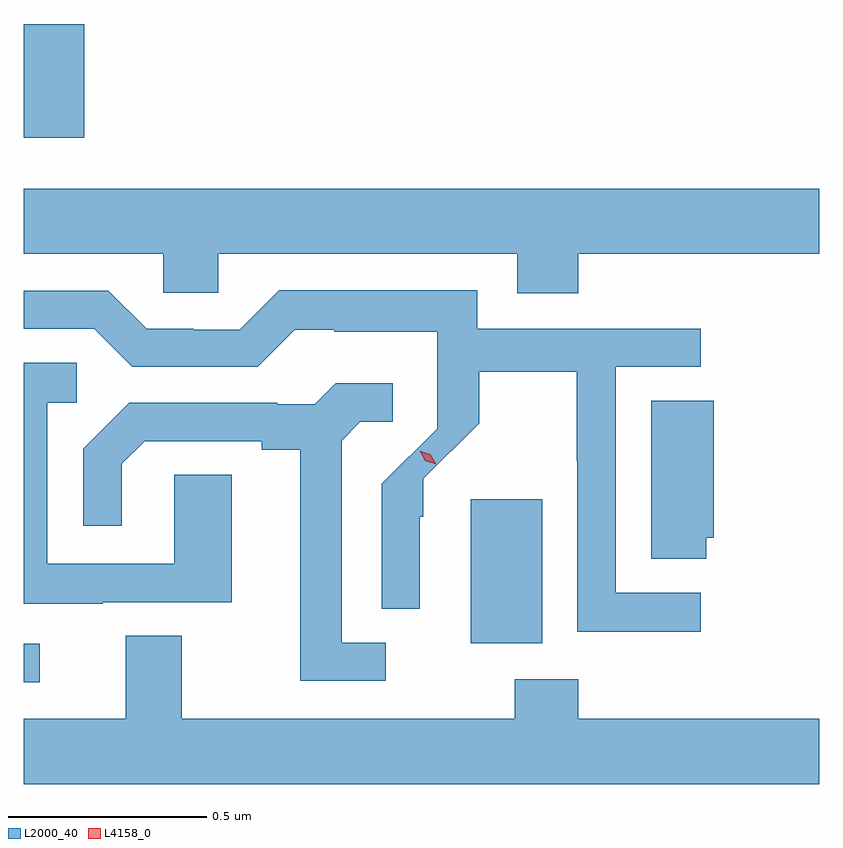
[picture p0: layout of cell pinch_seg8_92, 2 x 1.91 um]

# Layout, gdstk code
import gdstk
lib = gdstk.Library(unit=1e-6, precision=1e-09)
def R(c, l, rs):  # rectangles x0, y0, x1, y1
    for r in rs: c.add(gdstk.rectangle(r[:2], r[2:], *l))
def P(c, l, *ps):  # polygons
    for p in ps: c.add(gdstk.Polygon(p, *l))
L2000_40 = (2000, 40)
L4158_0 = (4158, 0)

pinch_seg8_92 = lib.new_cell('pinch_seg8_92')
R(pinch_seg8_92, L2000_40, [(1083.078,1102.104,1083.118,1102.2), (1084.202,1102.202,1084.381,1102.564), (1083.078,1103.472,1083.23,1103.758)])
P(pinch_seg8_92, L2000_40, [(1083.078,1103.18),(1083.429,1103.18),(1083.429,1103.082),(1083.567,1103.082),(1083.567,1103.18),(1084.319,1103.18),(1084.319,1103.081),(1084.472,1103.081),(1084.472,1103.18),(1085.078,1103.18),(1085.078,1103.344),(1083.078,1103.344)],
  [(1084.78,1102.329),(1084.566,1102.329),(1084.566,1102.896),(1084.78,1102.896),(1084.78,1102.992),(1084.218,1102.992),(1084.218,1103.089),(1083.721,1103.089),(1083.621,1102.989),(1083.506,1102.989),(1083.506,1102.992),(1083.387,1102.992),(1083.291,1103.088),(1083.078,1103.088),(1083.078,1102.992),(1083.255,1102.992),(1083.351,1102.896),(1083.666,1102.896),(1083.759,1102.989),(1083.859,1102.989),(1083.859,1102.985),(1084.117,1102.985),(1084.117,1102.741),(1083.978,1102.602),(1083.978,1102.288),(1084.074,1102.288),(1084.074,1102.52),(1084.083,1102.52),(1084.083,1102.615),(1084.223,1102.755),(1084.223,1102.884),(1084.468,1102.884),(1084.468,1102.66),(1084.47,1102.66),(1084.47,1102.231),(1084.78,1102.231)],
  [(1083.277,1102.305),(1083.601,1102.305),(1083.601,1102.625),(1083.456,1102.625),(1083.456,1102.401),(1083.138,1102.401),(1083.138,1102.806),(1083.211,1102.806),(1083.211,1102.907),(1083.078,1102.907),(1083.078,1102.301),(1083.277,1102.301)],
  [(1083.988,1102.203),(1083.877,1102.203),(1083.877,1102.711),(1083.924,1102.758),(1084.006,1102.758),(1084.006,1102.855),(1083.862,1102.855),(1083.81,1102.803),(1083.716,1102.803),(1083.716,1102.806),(1083.344,1102.806),(1083.228,1102.69),(1083.228,1102.497),(1083.325,1102.497),(1083.325,1102.653),(1083.382,1102.71),(1083.677,1102.71),(1083.677,1102.688),(1083.773,1102.688),(1083.773,1102.107),(1083.988,1102.107)],
  [(1084.794,1102.467),(1084.813,1102.467),(1084.813,1102.811),(1084.655,1102.811),(1084.655,1102.414),(1084.794,1102.414)],
  [(1085.078,1102.012),(1084.472,1102.012),(1084.472,1102.111),(1084.312,1102.111),(1084.312,1102.012),(1083.475,1102.012),(1083.475,1102.22),(1083.335,1102.22),(1083.335,1102.012),(1083.078,1102.012),(1083.078,1101.848),(1085.078,1101.848)])
P(pinch_seg8_92, L4158_0, [(1084.115,1102.652),(1084.088,1102.661),(1084.073,1102.686),(1084.073,1102.686),(1084.073,1102.686),(1084.1,1102.677),(1084.115,1102.652),(1084.115,1102.652)])

lib.write_gds('pinch_seg8_92.gds')
